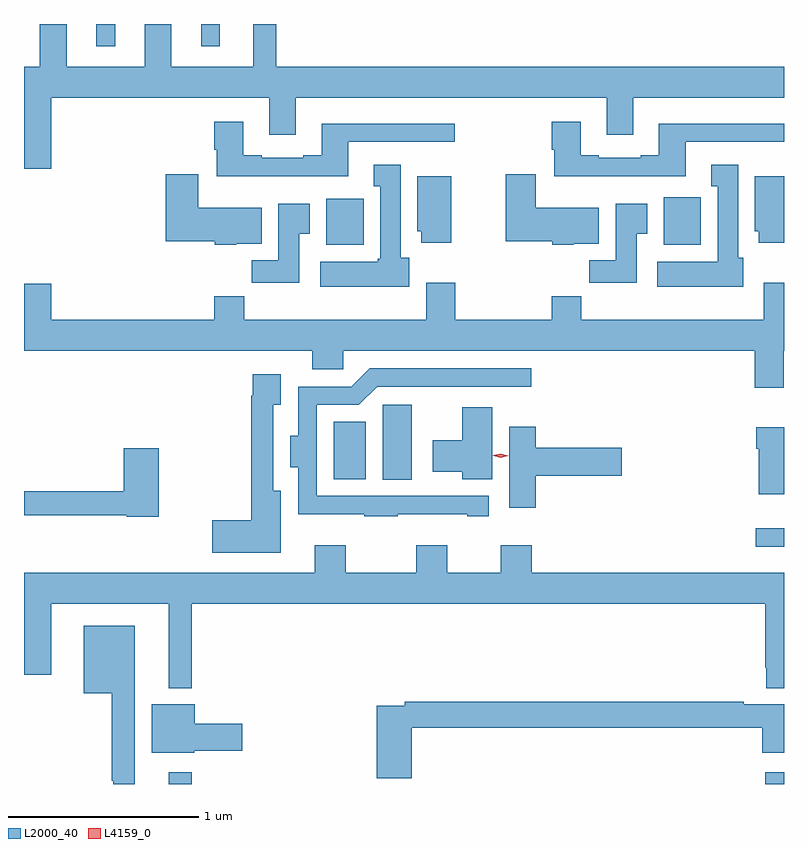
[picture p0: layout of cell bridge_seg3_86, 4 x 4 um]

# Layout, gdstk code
import gdstk
lib = gdstk.Library(unit=1e-6, precision=1e-09)
def R(c, l, rs):  # rectangles x0, y0, x1, y1
    for r in rs: c.add(gdstk.rectangle(r[:2], r[2:], *l))
def P(c, l, *ps):  # polygons
    for p in ps: c.add(gdstk.Polygon(p, *l))
L2000_40 = (2000, 40)
L4159_0 = (4159, 0)

bridge_seg3_86 = lib.new_cell('bridge_seg3_86')
R(bridge_seg3_86, L2000_40, [(417.539,689.312,417.661,689.374), (420.678,689.312,420.777,689.374), (420.627,690.56,420.777,690.657), (418.664,690.913,418.819,691.309), (418.406,690.917,418.576,691.219), (418.367,692.15,418.564,692.392), (420.143,692.15,420.339,692.401), (417.158,693.195,417.256,693.312), (417.71,693.195,417.808,693.312)])
P(bridge_seg3_86, L2000_40, [(416.92,692.924),(418.067,692.924),(418.067,692.73),(418.207,692.73),(418.207,692.924),(419.843,692.924),(419.843,692.73),(419.983,692.73),(419.983,692.924),(420.777,692.924),(420.777,693.088),(418.105,693.088),(418.105,693.312),(417.983,693.312),(417.983,693.088),(417.553,693.088),(417.553,693.312),(417.413,693.312),(417.413,693.088),(417.001,693.088),(417.001,693.312),(416.861,693.312),(416.861,693.088),(416.777,693.088),(416.777,692.55),(416.92,692.55)],
  [(418.483,692.691),(419.044,692.691),(419.044,692.788),(418.343,692.788),(418.343,692.62),(418.247,692.62),(418.247,692.607),(418.027,692.607),(418.027,692.62),(417.931,692.62),(417.931,692.797),(417.779,692.797),(417.779,692.649),(417.791,692.649),(417.791,692.51),(418.483,692.51)],
  [(420.259,692.691),(420.777,692.691),(420.777,692.788),(420.119,692.788),(420.119,692.62),(420.023,692.62),(420.023,692.607),(419.803,692.607),(419.803,692.62),(419.707,692.62),(419.707,692.797),(419.555,692.797),(419.555,692.649),(419.567,692.649),(419.567,692.51),(420.259,692.51)],
  [(418.804,692.082),(418.759,692.082),(418.759,692.572),(418.619,692.572),(418.619,692.459),(418.652,692.459),(418.652,692.076),(418.639,692.076),(418.639,692.062),(418.335,692.062),(418.335,691.928),(418.804,691.928)],
  [(420.562,692.082),(420.535,692.082),(420.535,692.572),(420.395,692.572),(420.395,692.459),(420.428,692.459),(420.428,692.062),(420.111,692.062),(420.111,691.928),(420.562,691.928)],
  [(419.67,692.156),(419.803,692.156),(419.803,692.344),(419.47,692.344),(419.47,692.521),(419.312,692.521),(419.312,692.168),(419.556,692.168),(419.556,692.15),(419.67,692.15)],
  [(417.894,692.156),(418.027,692.156),(418.027,692.344),(417.694,692.344),(417.694,692.521),(417.524,692.521),(417.524,692.168),(417.78,692.168),(417.78,692.15),(417.894,692.15)],
  [(419.026,692.512),(418.847,692.512),(418.847,692.22),(418.868,692.22),(418.868,692.16),(419.026,692.16)],
  [(420.777,692.512),(420.623,692.512),(420.623,692.22),(420.644,692.22),(420.644,692.16),(420.777,692.16)],
  [(418.225,692.209),(418.282,692.209),(418.282,692.365),(418.115,692.365),(418.115,692.068),(417.976,692.068),(417.976,691.95),(418.225,691.95)],
  [(420.001,692.209),(420.058,692.209),(420.058,692.365),(419.891,692.365),(419.891,692.068),(419.752,692.068),(419.752,691.95),(420.001,691.95)],
  [(420.775,691.592),(420.777,691.592),(420.777,691.951),(420.671,691.951),(420.671,691.756),(419.711,691.756),(419.711,691.88),(419.555,691.88),(419.555,691.756),(419.048,691.756),(419.048,691.951),(418.895,691.951),(418.895,691.756),(417.935,691.756),(417.935,691.88),(417.779,691.88),(417.779,691.756),(416.92,691.756),(416.92,691.945),(416.777,691.945),(416.777,691.592),(418.295,691.592),(418.295,691.494),(418.458,691.494),(418.458,691.592),(420.623,691.592),(420.623,691.398),(420.775,691.398)],
  [(418.745,690.731),(419.111,690.731),(419.111,690.72),(419.224,690.72),(419.224,690.828),(418.317,690.828),(418.317,691.308),(418.539,691.308),(418.635,691.404),(419.446,691.404),(419.446,691.5),(418.596,691.5),(418.5,691.404),(418.22,691.404),(418.22,691.144),(418.178,691.144),(418.178,690.98),(418.221,690.98),(418.221,690.731),(418.567,690.731),(418.567,690.72),(418.745,690.72)],
  [(418.129,690.856),(418.089,690.856),(418.089,691.307),(418.129,691.307),(418.129,691.468),(417.981,691.468),(417.981,691.355),(417.973,691.355),(417.973,690.701),(417.768,690.701),(417.768,690.53),(418.129,690.53)],
  [(419.242,691.294),(419.084,691.294),(419.084,691.12),(418.929,691.12),(418.929,690.956),(419.084,690.956),(419.084,690.917),(419.242,690.917)],
  [(419.471,690.935),(419.923,690.935),(419.923,691.082),(419.471,691.082),(419.471,691.192),(419.33,691.192),(419.33,690.765),(419.471,690.765)],
  [(420.777,691.189),(420.632,691.189),(420.632,691.076),(420.644,691.076),(420.644,690.836),(420.777,690.836)],
  [(417.485,691.078),(417.302,691.078),(417.302,690.854),(416.777,690.854),(416.777,690.726),(417.318,690.726),(417.318,690.718),(417.485,690.718)],
  [(417.661,690.26),(420.678,690.26),(420.678,689.923),(420.684,689.923),(420.684,689.816),(420.777,689.816),(420.777,690.424),(419.449,690.424),(419.449,690.568),(419.285,690.568),(419.285,690.424),(419.005,690.424),(419.005,690.568),(418.841,690.568),(418.841,690.424),(418.471,690.424),(418.471,690.568),(418.307,690.568),(418.307,690.424),(416.777,690.424),(416.777,689.886),(416.92,689.886),(416.92,690.26),(417.539,690.26),(417.539,689.816),(417.661,689.816)],
  [(417.361,690.145),(417.092,690.145),(417.092,689.789),(417.24,689.789),(417.24,689.329),(417.247,689.329),(417.247,689.312),(417.361,689.312)],
  [(418.817,689.608),(420.662,689.608),(420.662,689.477),(420.777,689.477),(420.777,689.731),(420.566,689.731),(420.566,689.744),(418.78,689.744),(418.78,689.724),(418.634,689.724),(418.634,689.343),(418.817,689.343)],
  [(417.672,689.488),(417.925,689.488),(417.925,689.63),(417.676,689.63),(417.676,689.731),(417.449,689.731),(417.449,689.477),(417.672,689.477)])
P(bridge_seg3_86, L4159_0, [(419.286,691.03),(419.247,691.04),(419.246,691.041),(419.247,691.041),(419.286,691.05),(419.325,691.04),(419.326,691.04),(419.325,691.04)])

lib.write_gds('bridge_seg3_86.gds')
